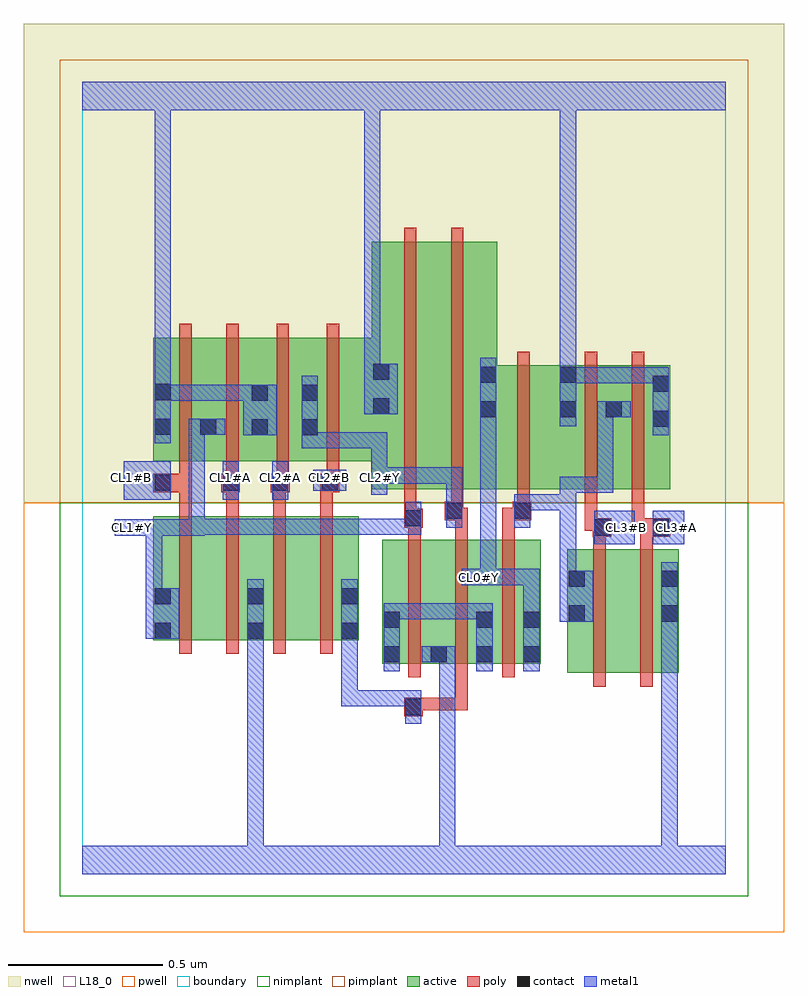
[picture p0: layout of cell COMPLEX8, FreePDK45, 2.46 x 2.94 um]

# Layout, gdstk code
import gdstk
lib = gdstk.Library(unit=1e-6, precision=1e-09)
def R(c, l, rs):  # rectangles x0, y0, x1, y1
    for r in rs: c.add(gdstk.rectangle(r[:2], r[2:], *l))
def A(c, l, x, y, w, h, nx, ny, dx, dy):  # array of equal rectangles
    R(c, l, [(x+i*dx, y+j*dy, x+i*dx+w, y+j*dy+h) for i in range(nx) for j in range(ny)])
active = (1, 0)
pwell = (2, 0)
nwell = (3, 0)
nimplant = (4, 0)
pimplant = (5, 0)
poly = (9, 0)
contact = (10, 0)
metal1 = (11, 0)
L18_0 = (18, 0)
boundary = (235, 0)

complex8 = lib.new_cell('COMPLEX8')
R(complex8, active, [(1.568,0.65,1.628,1.05), (1.568,0.65,1.748,1.05), (1.748,0.65,1.928,1.05), (1.868,0.65,1.928,1.05), (0.97,0.68,1.03,1.08), (0.97,0.68,1.182,1.08), (1.122,0.68,1.33,1.08), (1.122,0.68,1.182,0.828), (1.27,0.68,1.33,1.08), (1.27,0.68,1.482,1.08), (1.422,0.68,1.482,1.08), (0.23,0.756,0.29,1.156), (0.23,0.756,0.41,1.156), (0.41,0.756,0.59,1.156), (0.53,0.756,0.714,1.156), (0.53,0.756,0.59,0.928), (0.714,0.756,0.894,1.156), (0.834,0.756,0.894,1.156), (0.936,1.244,1.136,2.044), (1.136,1.244,1.342,2.044), (1.282,1.244,1.6,1.644), (1.282,1.244,1.342,1.716), (1.54,1.244,1.6,1.644), (1.54,1.244,1.748,1.644), (1.688,1.244,1.9,1.644), (1.84,1.244,1.9,1.644), (0.23,1.334,0.438,1.734), (0.23,1.334,0.29,1.644), (0.378,1.334,0.604,1.734), (0.544,1.334,0.766,1.734), (0.706,1.334,0.996,1.734), (0.544,1.414,0.604,1.734), (0.706,1.414,0.766,1.734), (0.378,1.416,0.438,1.644), (0.936,1.47,0.996,1.9), (1.688,1.472,1.748,1.644)])
R(complex8, pwell, [(-0.188,-0.188,2.268,1.2)])
R(complex8, nwell, [(-0.188,1.2,2.268,2.748)])
R(complex8, nimplant, [(-0.072,-0.072,2.152,1.2)])
R(complex8, pimplant, [(-0.072,1.2,2.152,2.632)])
A(complex8, poly, 1.054, 0.636, 0.04, 0.488, 3, 1, 0.152, 0)
A(complex8, poly, 0.314, 0.712, 0.04, 0.488, 4, 1, 0.152, 0)
A(complex8, poly, 0.314, 1.16, 0.04, 0.114, 4, 1, 0.152, 0)
A(complex8, poly, 0.45, 1.234, 0.06, 0.06, 3, 1, 0.16, 0)
A(complex8, poly, 0.466, 1.254, 0.04, 0.076, 3, 1, 0.162, 0)
A(complex8, poly, 0.466, 1.29, 0.04, 0.488, 3, 1, 0.162, 0)
R(complex8, poly, [(1.04,0.51,1.1,0.57), (1.06,0.53,1.1,0.57), (1.06,0.53,1.1,0.57), (1.06,0.53,1.246,0.57), (1.206,0.53,1.246,0.57), (1.206,0.53,1.246,0.676), (1.652,0.606,1.692,1.094), (1.804,0.606,1.844,1.094), (1.652,1.054,1.692,1.13), (1.804,1.054,1.844,1.13), (1.054,1.084,1.094,1.16), (1.206,1.084,1.246,1.184), (1.358,1.084,1.398,1.184), (1.65,1.09,1.71,1.15), (1.804,1.09,1.9,1.15), (1.624,1.11,1.664,1.24), (1.624,1.11,1.69,1.15), (1.65,1.11,1.69,1.15), (1.776,1.11,1.816,1.24), (1.776,1.11,1.844,1.15), (1.804,1.11,1.844,1.15), (1.04,1.12,1.1,1.18), (1.04,1.14,1.08,1.18), (1.04,1.14,1.08,1.18), (1.04,1.14,1.08,1.24), (1.172,1.144,1.232,1.204), (1.192,1.144,1.232,1.184), (1.192,1.144,1.246,1.184), (1.358,1.144,1.432,1.184), (1.392,1.144,1.432,1.184), (1.392,1.144,1.452,1.204), (1.192,1.164,1.232,1.24), (1.406,1.164,1.446,1.24), (1.04,1.2,1.08,2.088), (1.192,1.2,1.232,2.088), (1.406,1.2,1.446,1.688), (1.624,1.2,1.664,1.688), (1.776,1.2,1.816,1.688), (0.23,1.234,0.354,1.294), (0.314,1.234,0.354,1.274), (0.314,1.234,0.354,1.274), (0.466,1.234,0.506,1.274), (0.466,1.234,0.506,1.274), (0.618,1.234,0.658,1.274), (0.618,1.234,0.658,1.274), (0.77,1.234,0.81,1.274), (0.77,1.234,0.81,1.274), (0.314,1.254,0.354,1.33), (0.314,1.29,0.354,1.778)])
A(complex8, contact, 0.454, 1.238, 0.052, 0.052, 3, 1, 0.16, 0)
R(complex8, contact, [(1.044,0.514,1.096,0.566), (0.974,0.684,1.026,0.736), (1.126,0.684,1.178,0.736), (1.274,0.684,1.326,0.736), (1.426,0.684,1.478,0.736), (0.234,0.76,0.286,0.812), (0.534,0.76,0.586,0.812), (0.838,0.76,0.89,0.812), (0.974,0.796,1.026,0.848), (1.274,0.796,1.326,0.848), (1.426,0.796,1.478,0.848), (1.572,0.816,1.624,0.868), (1.872,0.816,1.924,0.868), (0.234,0.872,0.286,0.924), (0.534,0.872,0.586,0.924), (0.838,0.872,0.89,0.924), (1.572,0.928,1.624,0.98), (1.872,0.928,1.924,0.98), (1.654,1.094,1.706,1.146), (1.844,1.094,1.896,1.146), (1.044,1.124,1.096,1.176), (1.176,1.148,1.228,1.2), (1.396,1.148,1.448,1.2), (0.234,1.238,0.286,1.29), (0.548,1.418,0.6,1.47), (0.71,1.418,0.762,1.47), (0.234,1.42,0.286,1.472), (0.382,1.42,0.434,1.472), (1.844,1.446,1.896,1.498), (1.286,1.476,1.338,1.528), (1.544,1.476,1.596,1.528), (1.692,1.476,1.744,1.528), (0.94,1.486,0.992,1.538), (0.548,1.53,0.6,1.582), (0.71,1.53,0.762,1.582), (0.234,1.532,0.286,1.584), (1.844,1.558,1.896,1.61), (1.286,1.588,1.338,1.64), (1.544,1.588,1.596,1.64), (0.94,1.598,0.992,1.65)])
R(complex8, metal1, [(0,0,2.08,0.092), (0.534,0.04,0.586,0.092), (0.534,0.04,0.586,0.092), (0.534,0.04,0.586,0.092), (0.534,0.04,0.586,0.092), (0.534,0.04,0.586,0.092), (0.534,0.04,0.586,0.092), (0.534,0.04,0.586,0.092), (0.534,0.04,0.586,0.092), (0.534,0.04,0.586,0.092), (0.534,0.04,0.586,0.092), (0.534,0.04,0.586,0.092), (0.534,0.04,0.586,0.092), (0.534,0.04,0.586,0.784), (1.154,0.04,1.206,0.092), (1.154,0.04,1.206,0.092), (1.154,0.04,1.206,0.092), (1.154,0.04,1.206,0.092), (1.154,0.04,1.206,0.092), (1.154,0.04,1.206,0.092), (1.154,0.04,1.206,0.092), (1.154,0.04,1.206,0.092), (1.154,0.04,1.206,0.092), (1.154,0.04,1.206,0.092), (1.154,0.04,1.206,0.092), (1.154,0.04,1.206,0.092), (1.154,0.04,1.206,0.736), (1.872,0.04,1.924,0.84), (1.044,0.486,1.096,0.594), (0.838,0.542,0.89,0.594), (0.838,0.542,0.986,0.594), (0.838,0.542,0.89,0.784), (0.934,0.542,1.096,0.594), (0.934,0.542,0.986,0.594), (0.974,0.656,1.026,0.876), (1.274,0.656,1.326,0.876), (1.426,0.656,1.478,0.876), (1.098,0.684,1.206,0.736), (0.534,0.732,0.586,0.952), (0.838,0.732,0.89,0.952), (0.206,0.76,0.314,0.924), (1.872,0.788,1.924,1.008), (1.872,0.788,1.924,0.84), (1.872,0.788,1.924,0.84), (1.872,0.788,1.924,0.84), (1.872,0.788,1.924,0.84), (1.872,0.788,1.924,0.84), (1.872,0.788,1.924,0.84), (1.872,0.788,1.924,0.84), (1.872,0.788,1.924,0.84), (1.872,0.788,1.924,0.84), (1.872,0.788,1.924,0.84), (1.872,0.788,1.924,0.84), (1.872,0.788,1.924,0.84), (1.544,0.816,1.652,0.98), (0.974,0.824,1.096,0.876), (1.044,0.824,1.096,0.876), (1.044,0.824,1.168,0.876), (1.116,0.824,1.168,0.876), (1.116,0.824,1.326,0.876), (1.274,0.824,1.326,0.876), (1.274,0.824,1.326,0.876), (1.426,0.824,1.478,0.986), (0.206,0.872,0.258,1.146), (1.544,0.928,1.596,1.228), (1.226,0.934,1.338,0.986), (1.286,0.934,1.478,0.986), (1.286,0.934,1.338,1.5), (1.426,0.934,1.478,0.986), (1.426,0.934,1.478,0.986), (1.426,0.934,1.478,0.986), (1.654,1.066,1.786,1.174), (1.844,1.066,1.946,1.174), (0.106,1.094,0.258,1.146), (0.206,1.094,0.258,1.146), (0.206,1.094,0.258,1.146), (0.206,1.094,0.396,1.146), (0.344,1.094,0.396,1.148), (0.344,1.096,0.396,1.148), (0.344,1.096,0.396,1.148), (0.344,1.096,0.628,1.148), (0.344,1.096,0.396,1.472), (0.576,1.096,0.738,1.148), (0.576,1.096,0.628,1.148), (0.576,1.096,0.628,1.148), (0.576,1.096,0.628,1.148), (0.686,1.096,0.738,1.148), (0.686,1.096,0.738,1.148), (0.686,1.096,0.738,1.148), (0.686,1.096,0.964,1.148), (0.912,1.096,0.964,1.148), (0.912,1.096,0.964,1.148), (0.912,1.096,0.964,1.148), (0.912,1.096,1.096,1.148), (1.044,1.096,1.096,1.204), (1.176,1.12,1.228,1.314), (1.396,1.12,1.448,1.228), (1.396,1.176,1.448,1.228), (1.396,1.176,1.448,1.228), (1.396,1.176,1.596,1.228), (1.544,1.176,1.596,1.228), (1.544,1.176,1.596,1.228), (1.544,1.176,1.596,1.284), (0.134,1.21,0.286,1.334), (0.454,1.21,0.506,1.334), (0.614,1.21,0.666,1.334), (0.934,1.226,0.986,1.334), (1.544,1.232,1.596,1.284), (1.544,1.232,1.596,1.284), (1.544,1.232,1.716,1.284), (1.664,1.232,1.716,1.284), (1.664,1.232,1.716,1.528), (0.746,1.238,0.854,1.306), (0.934,1.262,1.096,1.314), (0.934,1.262,0.986,1.314), (0.934,1.262,0.986,1.314), (1.044,1.262,1.096,1.314), (1.044,1.262,1.168,1.314), (1.116,1.262,1.168,1.314), (1.116,1.262,1.228,1.314), (0.934,1.282,0.986,1.428), (0.71,1.376,0.986,1.428), (0.71,1.376,0.762,1.442), (0.934,1.376,0.986,1.428), (0.71,1.39,0.762,1.61), (0.71,1.39,0.762,1.442), (0.234,1.392,0.286,1.612), (0.52,1.418,0.628,1.582), (1.844,1.418,1.896,1.638), (0.344,1.42,0.396,1.472), (0.344,1.42,0.396,1.472), (0.344,1.42,0.462,1.472), (1.286,1.448,1.338,1.668), (1.286,1.448,1.338,1.5), (1.286,1.448,1.338,1.5), (1.544,1.448,1.596,1.668), (1.664,1.476,1.772,1.528), (0.912,1.486,1.02,1.65), (0.234,1.53,0.286,1.582), (0.234,1.53,0.286,1.582), (0.234,1.53,0.462,1.582), (0.41,1.53,0.572,1.582), (0.41,1.53,0.462,1.582), (0.41,1.53,0.462,1.582), (0.41,1.53,0.462,1.582), (0.234,1.56,0.286,1.612), (0.234,1.56,0.286,1.612), (0.234,1.56,0.286,1.612), (0.234,1.56,0.286,1.612), (0.234,1.56,0.286,1.612), (0.234,1.56,0.286,1.612), (0.234,1.56,0.286,2.52), (1.544,1.586,1.596,1.638), (1.544,1.586,1.596,1.638), (1.544,1.586,1.786,1.638), (1.734,1.586,1.896,1.638), (1.734,1.586,1.786,1.638), (1.734,1.586,1.786,1.638), (1.734,1.586,1.786,1.638), (0.912,1.598,0.964,2.52), (1.544,1.616,1.596,1.668), (1.544,1.616,1.596,1.668), (1.544,1.616,1.596,1.668), (1.544,1.616,1.596,1.668), (1.544,1.616,1.596,1.668), (1.544,1.616,1.596,1.668), (1.544,1.616,1.596,1.668), (1.544,1.616,1.596,1.668), (1.544,1.616,1.596,1.668), (1.544,1.616,1.596,1.668), (1.544,1.616,1.596,1.668), (1.544,1.616,1.596,1.668), (1.544,1.616,1.596,1.668), (1.544,1.616,1.596,1.668), (1.544,1.616,1.596,1.668), (1.544,1.616,1.596,1.668), (1.544,1.616,1.596,2.52), (0,2.468,2.08,2.56), (0.234,2.468,0.286,2.52), (0.234,2.468,0.286,2.52), (0.234,2.468,0.286,2.52), (0.234,2.468,0.286,2.52), (0.234,2.468,0.286,2.52), (0.234,2.468,0.286,2.52), (0.234,2.468,0.286,2.52), (0.234,2.468,0.286,2.52), (0.234,2.468,0.286,2.52), (0.234,2.468,0.286,2.52), (0.912,2.468,0.964,2.52), (0.912,2.468,0.964,2.52), (0.912,2.468,0.964,2.52), (0.912,2.468,0.964,2.52), (0.912,2.468,0.964,2.52), (0.912,2.468,0.964,2.52), (0.912,2.468,0.964,2.52), (0.912,2.468,0.964,2.52)])
A(complex8, L18_0, 0.454, 1.254, 0.052, 0.052, 4, 1, 0.16, 0)
R(complex8, L18_0, [(0,0,2.08,0.092), (0.534,0.04,0.586,0.092), (0.534,0.04,0.586,0.092), (0.534,0.04,0.586,0.092), (0.534,0.04,0.586,0.092), (0.534,0.04,0.586,0.092), (0.534,0.04,0.586,0.092), (0.534,0.04,0.586,0.092), (0.534,0.04,0.586,0.092), (0.534,0.04,0.586,0.092), (0.534,0.04,0.586,0.092), (0.534,0.04,0.586,0.092), (0.534,0.04,0.586,0.092), (0.534,0.04,0.586,0.784), (1.154,0.04,1.206,0.092), (1.154,0.04,1.206,0.092), (1.154,0.04,1.206,0.092), (1.154,0.04,1.206,0.092), (1.154,0.04,1.206,0.092), (1.154,0.04,1.206,0.092), (1.154,0.04,1.206,0.092), (1.154,0.04,1.206,0.092), (1.154,0.04,1.206,0.092), (1.154,0.04,1.206,0.092), (1.154,0.04,1.206,0.092), (1.154,0.04,1.206,0.092), (1.154,0.04,1.206,0.736), (1.872,0.04,1.924,0.84), (1.044,0.486,1.096,0.594), (0.838,0.542,0.89,0.594), (0.838,0.542,0.89,0.784), (0.838,0.542,0.986,0.594), (0.934,0.542,0.986,0.594), (0.934,0.542,1.096,0.594), (1.426,0.656,1.478,0.876), (1.098,0.684,1.206,0.736), (0.534,0.732,0.586,0.952), (0.838,0.732,0.89,0.952), (0.206,0.76,0.314,0.924), (1.872,0.788,1.924,1.008), (1.872,0.788,1.924,0.84), (1.872,0.788,1.924,0.84), (1.872,0.788,1.924,0.84), (1.872,0.788,1.924,0.84), (1.872,0.788,1.924,0.84), (1.872,0.788,1.924,0.84), (1.872,0.788,1.924,0.84), (1.872,0.788,1.924,0.84), (1.872,0.788,1.924,0.84), (1.872,0.788,1.924,0.84), (1.872,0.788,1.924,0.84), (1.872,0.788,1.924,0.84), (1.426,0.824,1.478,0.986), (0.206,0.872,0.258,1.146), (1.226,0.934,1.338,0.986), (1.254,0.934,1.306,0.986), (1.286,0.934,1.338,1.5), (1.286,0.934,1.478,0.986), (1.426,0.934,1.478,0.986), (1.426,0.934,1.478,0.986), (1.426,0.934,1.478,0.986), (1.654,1.066,1.786,1.174), (1.844,1.066,1.946,1.174), (0.106,1.094,0.258,1.146), (0.134,1.094,0.186,1.146), (0.206,1.094,0.258,1.146), (0.206,1.094,0.258,1.146), (0.206,1.094,0.396,1.146), (0.344,1.094,0.396,1.148), (1.734,1.094,1.786,1.146), (1.894,1.094,1.946,1.146), (0.344,1.096,0.396,1.148), (0.344,1.096,0.396,1.148), (0.344,1.096,0.396,1.472), (0.344,1.096,0.628,1.148), (0.576,1.096,0.628,1.148), (0.576,1.096,0.628,1.148), (0.576,1.096,0.628,1.148), (0.576,1.096,0.738,1.148), (0.686,1.096,0.738,1.148), (0.686,1.096,0.738,1.148), (0.686,1.096,0.738,1.148), (0.686,1.096,0.964,1.148), (0.912,1.096,0.964,1.148), (0.912,1.096,0.964,1.148), (0.912,1.096,0.964,1.148), (0.912,1.096,1.096,1.148), (1.044,1.096,1.096,1.204), (1.176,1.12,1.228,1.314), (0.134,1.21,0.286,1.334), (0.454,1.21,0.506,1.334), (0.614,1.21,0.666,1.334), (0.934,1.226,0.986,1.334), (0.746,1.238,0.854,1.306), (0.134,1.254,0.186,1.306), (0.934,1.262,0.986,1.314), (0.934,1.262,0.986,1.314), (0.934,1.262,1.096,1.314), (1.044,1.262,1.096,1.314), (1.044,1.262,1.168,1.314), (1.116,1.262,1.168,1.314), (1.116,1.262,1.228,1.314), (0.934,1.282,0.986,1.428), (0.71,1.376,0.762,1.442), (0.71,1.376,0.986,1.428), (0.934,1.376,0.986,1.428), (0.71,1.39,0.762,1.61), (0.71,1.39,0.762,1.442), (0.234,1.392,0.286,1.612), (0.52,1.418,0.628,1.582), (1.844,1.418,1.896,1.638), (0.344,1.42,0.396,1.472), (0.344,1.42,0.396,1.472), (0.344,1.42,0.462,1.472), (1.286,1.448,1.338,1.668), (1.286,1.448,1.338,1.5), (1.286,1.448,1.338,1.5), (1.544,1.448,1.596,1.668), (0.912,1.486,1.02,1.65), (0.234,1.53,0.286,1.582), (0.234,1.53,0.286,1.582), (0.234,1.53,0.462,1.582), (0.41,1.53,0.462,1.582), (0.41,1.53,0.462,1.582), (0.41,1.53,0.462,1.582), (0.41,1.53,0.572,1.582), (0.234,1.56,0.286,1.612), (0.234,1.56,0.286,1.612), (0.234,1.56,0.286,1.612), (0.234,1.56,0.286,1.612), (0.234,1.56,0.286,1.612), (0.234,1.56,0.286,1.612), (0.234,1.56,0.286,2.52), (1.544,1.586,1.596,1.638), (1.544,1.586,1.596,1.638), (1.544,1.586,1.786,1.638), (1.734,1.586,1.786,1.638), (1.734,1.586,1.786,1.638), (1.734,1.586,1.786,1.638), (1.734,1.586,1.896,1.638), (0.912,1.598,0.964,2.52), (1.544,1.616,1.596,1.668), (1.544,1.616,1.596,1.668), (1.544,1.616,1.596,1.668), (1.544,1.616,1.596,1.668), (1.544,1.616,1.596,1.668), (1.544,1.616,1.596,1.668), (1.544,1.616,1.596,1.668), (1.544,1.616,1.596,1.668), (1.544,1.616,1.596,1.668), (1.544,1.616,1.596,1.668), (1.544,1.616,1.596,1.668), (1.544,1.616,1.596,1.668), (1.544,1.616,1.596,1.668), (1.544,1.616,1.596,1.668), (1.544,1.616,1.596,1.668), (1.544,1.616,1.596,1.668), (1.544,1.616,1.596,2.52), (0,2.468,2.08,2.56), (0.234,2.468,0.286,2.52), (0.234,2.468,0.286,2.52), (0.234,2.468,0.286,2.52), (0.234,2.468,0.286,2.52), (0.234,2.468,0.286,2.52), (0.234,2.468,0.286,2.52), (0.234,2.468,0.286,2.52), (0.234,2.468,0.286,2.52), (0.234,2.468,0.286,2.52), (0.234,2.468,0.286,2.52), (0.912,2.468,0.964,2.52), (0.912,2.468,0.964,2.52), (0.912,2.468,0.964,2.52), (0.912,2.468,0.964,2.52), (0.912,2.468,0.964,2.52), (0.912,2.468,0.964,2.52), (0.912,2.468,0.964,2.52), (0.912,2.468,0.964,2.52)])
R(complex8, boundary, [(0,0,2.08,2.56)])
complex8.add(gdstk.Label('CL0#Y', (1.28,0.96), layer=11, texttype=0))
complex8.add(gdstk.Label('CL1#A', (0.48,1.28), layer=11, texttype=0))
complex8.add(gdstk.Label('CL1#B', (0.16,1.28), layer=11, texttype=0))
complex8.add(gdstk.Label('CL1#Y', (0.16,1.12), layer=11, texttype=0))
complex8.add(gdstk.Label('CL2#A', (0.64,1.28), layer=11, texttype=0))
complex8.add(gdstk.Label('CL2#B', (0.8,1.28), layer=11, texttype=0))
complex8.add(gdstk.Label('CL2#Y', (0.96,1.28), layer=11, texttype=0))
complex8.add(gdstk.Label('CL3#A', (1.92,1.12), layer=11, texttype=0))
complex8.add(gdstk.Label('CL3#B', (1.76,1.12), layer=11, texttype=0))

lib.write_gds('COMPLEX8.gds')
